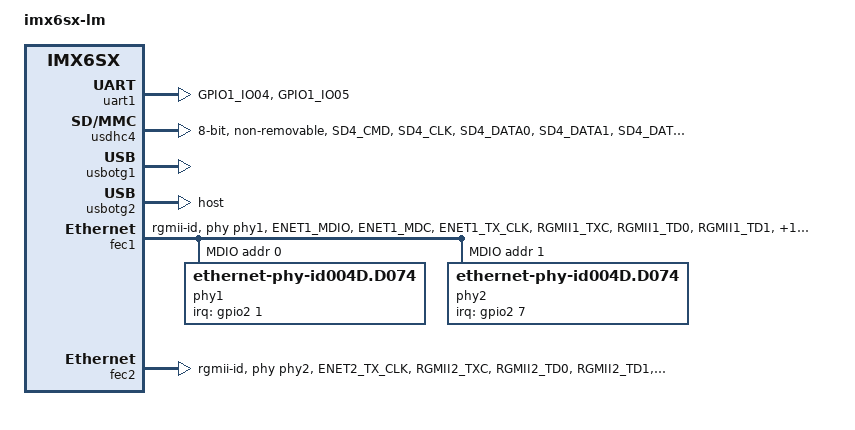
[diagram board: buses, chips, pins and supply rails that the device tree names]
/dts-v1/;

#include "imx6sx.dtsi"

/ {
    model = "imx6sx-lm";
    compatible = "fsl,imx6sx";

    chosen {
        stdout-path = &uart1;
    };
};

/* debug UART */
&uart1 {
    status = "okay";
    pinctrl-names = "default";
    pinctrl-0 = <&pinctrl_uart1>;
};

&usdhc4 {
    status = "okay";
    pinctrl-names = "default", "state_100mhz", "state_200mhz";
    pinctrl-0 = <&pinctrl_usdhc4_1>;
    pinctrl-1 = <&pinctrl_usdhc4_1_100mhz>;
    pinctrl-2 = <&pinctrl_usdhc4_1_200mhz>;
    bus-width = <8>;
    no-1-8-v;
    non-removable;
    keep-power-in-suspend;
};

&usbotg1 {
    status = "okay";
};

&usbotg2 {
    status = "okay";
    dr_mode = "host";
};

&fec1 {
    status = "okay";

    pinctrl-names = "default";
    pinctrl-0 = <&pinctrl_fec1>;

    phy-handle = <&phy1>;
    phy-mode = "rgmii-id";
    phy-supply = <0>;
    phy-reset-gpios = <&gpio2 0 GPIO_ACTIVE_HIGH>;

    mdio {
        #address-cells = <1>;
        #size-cells = <0>;

        phy1: ethernet-phy@0 {
            compatible = "ethernet-phy-id004D.D074", "ethernet-phy-ieee802.3-c22";
            reg = <0>;
            interrupt-parent = <&gpio2>;
            interrupts = <1 IRQ_TYPE_EDGE_FALLING>;
        };

        phy2: ethernet-phy@1 {
            compatible = "ethernet-phy-id004D.D074", "ethernet-phy-ieee802.3-c22";
            reg = <1>;
            interrupt-parent = <&gpio2>;
            interrupts = <7 IRQ_TYPE_EDGE_FALLING>;
        };
    };
};

&fec2 {
    status = "okay";
    pinctrl-names = "default";
    pinctrl-0 = <&pinctrl_fec2>;

    phy-handle = <&phy2>;
    phy-supply = <0>;
    phy-mode = "rgmii-id";
    phy-reset-gpios = <&gpio2 6 GPIO_ACTIVE_HIGH>;
};

&iomuxc {
    pinctrl_uart1: uart1grp {
        fsl,pins = <
            MX6SX_PAD_GPIO1_IO04__UART1_TX 0x1b0b1
            MX6SX_PAD_GPIO1_IO05__UART1_RX 0x1b0b1
        >;
    };

    pinctrl_usdhc4_1: usdhc4grp-1 {
        fsl,pins = <
            MX6SX_PAD_SD4_CMD__USDHC4_CMD		0x17059
            MX6SX_PAD_SD4_CLK__USDHC4_CLK		0x10059
            MX6SX_PAD_SD4_DATA0__USDHC4_DATA0	0x17059
            MX6SX_PAD_SD4_DATA1__USDHC4_DATA1	0x17059
            MX6SX_PAD_SD4_DATA2__USDHC4_DATA2	0x17059
            MX6SX_PAD_SD4_DATA3__USDHC4_DATA3	0x17059
            MX6SX_PAD_SD4_DATA4__USDHC4_DATA4	0x17059
            MX6SX_PAD_SD4_DATA5__USDHC4_DATA5	0x17059
            MX6SX_PAD_SD4_DATA6__USDHC4_DATA6	0x17059
            MX6SX_PAD_SD4_DATA7__USDHC4_DATA7	0x17059
        >;
    };

    pinctrl_usdhc4_1_100mhz: usdhc4grp-1-100mhz {
        fsl,pins = <
            MX6SX_PAD_SD4_CMD__USDHC4_CMD		0x170b9
            MX6SX_PAD_SD4_CLK__USDHC4_CLK		0x100b9
            MX6SX_PAD_SD4_DATA0__USDHC4_DATA0	0x170b9
            MX6SX_PAD_SD4_DATA1__USDHC4_DATA1	0x170b9
            MX6SX_PAD_SD4_DATA2__USDHC4_DATA2	0x170b9
            MX6SX_PAD_SD4_DATA3__USDHC4_DATA3	0x170b9
            MX6SX_PAD_SD4_DATA4__USDHC4_DATA4	0x170b9
            MX6SX_PAD_SD4_DATA5__USDHC4_DATA5	0x170b9
            MX6SX_PAD_SD4_DATA6__USDHC4_DATA6	0x170b9
            MX6SX_PAD_SD4_DATA7__USDHC4_DATA7	0x170b9
        >;
    };

    pinctrl_usdhc4_1_200mhz: usdhc4grp-1-200mhz {
        fsl,pins = <
            MX6SX_PAD_SD4_CMD__USDHC4_CMD		0x170f9
            MX6SX_PAD_SD4_CLK__USDHC4_CLK		0x100f9
            MX6SX_PAD_SD4_DATA0__USDHC4_DATA0	0x170f9
            MX6SX_PAD_SD4_DATA1__USDHC4_DATA1	0x170f9
            MX6SX_PAD_SD4_DATA2__USDHC4_DATA2	0x170f9
            MX6SX_PAD_SD4_DATA3__USDHC4_DATA3	0x170f9
            MX6SX_PAD_SD4_DATA4__USDHC4_DATA4	0x170f9
            MX6SX_PAD_SD4_DATA5__USDHC4_DATA5	0x170f9
            MX6SX_PAD_SD4_DATA6__USDHC4_DATA6	0x170f9
            MX6SX_PAD_SD4_DATA7__USDHC4_DATA7	0x170f9
        >;
    };

    pinctrl_fec1: pinctrl_fec1 {
        fsl,pins = <
            MX6SX_PAD_ENET1_MDIO__ENET1_MDIO       0xa0b1
            MX6SX_PAD_ENET1_MDC__ENET1_MDC         0xa0b1

            MX6SX_PAD_ENET1_TX_CLK__ENET1_REF_CLK1 0x88b1
            MX6SX_PAD_RGMII1_TXC__ENET1_RGMII_TXC  0xa0b9
            MX6SX_PAD_RGMII1_TD0__ENET1_TX_DATA_0  0xa0b1
            MX6SX_PAD_RGMII1_TD1__ENET1_TX_DATA_1  0xa0b1
            MX6SX_PAD_RGMII1_TD2__ENET1_TX_DATA_2  0xa0b1
            MX6SX_PAD_RGMII1_TD3__ENET1_TX_DATA_3  0xa0b1
            MX6SX_PAD_RGMII1_TX_CTL__ENET1_TX_EN   0xa0b1

            MX6SX_PAD_RGMII1_RXC__ENET1_RX_CLK     0x3081
            MX6SX_PAD_RGMII1_RD0__ENET1_RX_DATA_0  0x3081
            MX6SX_PAD_RGMII1_RD1__ENET1_RX_DATA_1  0x3081
            MX6SX_PAD_RGMII1_RD2__ENET1_RX_DATA_2  0x3081
            MX6SX_PAD_RGMII1_RD3__ENET1_RX_DATA_3  0x3081
            MX6SX_PAD_RGMII1_RX_CTL__ENET1_RX_EN   0x3081

            /* reset phy */
            MX6SX_PAD_ENET1_CRS__GPIO2_IO_1        0x3081
        >;
    };

    pinctrl_fec2: pinctrl_fec2 {
        fsl,pins = <
            MX6SX_PAD_ENET2_TX_CLK__ENET2_REF_CLK2 0x88b1
            MX6SX_PAD_RGMII2_TXC__ENET2_RGMII_TXC  0xa0b9
            MX6SX_PAD_RGMII2_TD0__ENET2_TX_DATA_0  0xa0b1
            MX6SX_PAD_RGMII2_TD1__ENET2_TX_DATA_1  0xa0b1
            MX6SX_PAD_RGMII2_TD2__ENET2_TX_DATA_2  0xa0b1
            MX6SX_PAD_RGMII2_TD3__ENET2_TX_DATA_3  0xa0b1
            MX6SX_PAD_RGMII2_TX_CTL__ENET2_TX_EN   0xa0b1

            MX6SX_PAD_RGMII2_RXC__ENET2_RX_CLK     0x3081
            MX6SX_PAD_RGMII2_RD0__ENET2_RX_DATA_0  0x3081
            MX6SX_PAD_RGMII2_RD1__ENET2_RX_DATA_1  0x3081
            MX6SX_PAD_RGMII2_RD2__ENET2_RX_DATA_2  0x3081
            MX6SX_PAD_RGMII2_RD3__ENET2_RX_DATA_3  0x3081
            MX6SX_PAD_RGMII2_RX_CTL__ENET2_RX_EN   0x3081

            /* reset phy */
            MX6SX_PAD_ENET2_CRS__GPIO2_IO_7        0x3081
        >;
    };
};
